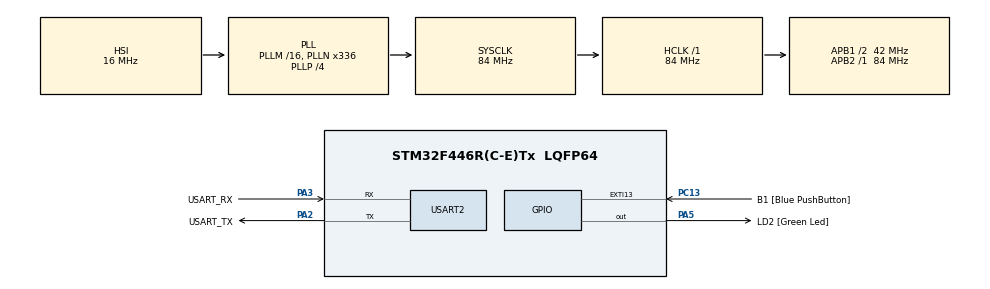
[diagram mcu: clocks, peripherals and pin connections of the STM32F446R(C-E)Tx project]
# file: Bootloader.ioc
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Mcu.Family=STM32F4
Mcu.Name=STM32F446R(C-E)Tx
Mcu.Package=LQFP64
NVIC.PriorityGroup=NVIC_PRIORITYGROUP_0
PA13.GPIO_Label=TMS
PA13.Mode=Serial_Wire
PA13.Signal=SYS_JTMS-SWDIO
PA14.GPIO_Label=TCK
PA14.Mode=Serial_Wire
PA14.Signal=SYS_JTCK-SWCLK
PA2.GPIO_Label=USART_TX
PA2.Mode=Asynchronous
PA2.Signal=USART2_TX
PA3.GPIO_Label=USART_RX
PA3.Mode=Asynchronous
PA3.Signal=USART2_RX
PA5.GPIO_Label=LD2 [Green Led]
PA5.Signal=GPIO_Output
PB3.GPIO_Label=SWO
PB3.Signal=SYS_JTDO-SWO
PC13.GPIO_Label=B1 [Blue PushButton]
PC13.GPIO_ModeDefaultEXTI=GPIO_MODE_IT_FALLING
PC13.Signal=GPXTI13
PC14-OSC32_IN.Mode=LSE-External-Oscillator
PC14-OSC32_IN.Signal=RCC_OSC32_IN
PC15-OSC32_OUT.Mode=LSE-External-Oscillator
PC15-OSC32_OUT.Signal=RCC_OSC32_OUT
PH0-OSC_IN.Mode=HSE-External-Oscillator
PH0-OSC_IN.Signal=RCC_OSC_IN
PH1-OSC_OUT.Mode=HSE-External-Oscillator
PH1-OSC_OUT.Signal=RCC_OSC_OUT
ProjectManager.HeapSize=0x200
ProjectManager.StackSize=0x400
ProjectManager.TargetToolchain=STM32CubeIDE
RCC.48MHZClocksFreq_Value=84000000
RCC.AHBFreq_Value=84000000
RCC.APB1CLKDivider=RCC_HCLK_DIV2
RCC.APB1Freq_Value=42000000
RCC.APB1TimFreq_Value=84000000
RCC.APB2Freq_Value=84000000
RCC.APB2TimFreq_Value=84000000
RCC.CortexFreq_Value=84000000
RCC.FLatency-AdvancedSettings=FLASH_LATENCY_2
RCC.HCLKFreq_Value=84000000
RCC.HSE_VALUE=8000000
RCC.HSI_VALUE=16000000
RCC.PLLN=336
RCC.PLLP=RCC_PLLP_DIV4
RCC.SYSCLKFreq_VALUE=84000000
RCC.SYSCLKSource=RCC_SYSCLKSOURCE_PLLCLK
RCC.USBFreq_Value=168000000
RCC.VCOOutputFreq_Value=336000000
USART2.VirtualMode=VM_ASYNC
VP_CRC_VS_CRC.Mode=CRC_Activate
board=NUCLEO-F446RE

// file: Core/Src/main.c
/* USER CODE BEGIN Header */
/**
  ******************************************************************************
  * @file           : main.c
  * @brief          : Main program body
  ******************************************************************************
  * @attention
  *
  * Copyright (c) 2023 STMicroelectronics.
  * All rights reserved.
  *
  * This software is licensed under terms that can be found in the LICENSE file
  * in the root directory of this software component.
  * If no LICENSE file comes with this software, it is provided AS-IS.
  *
  ******************************************************************************
  */
/* USER CODE END Header */
#include "main.h"

/* USER CODE BEGIN Includes */

#include <string.h>
#include "BL.h"

/* USER CODE END Includes */

/* USER CODE BEGIN PD */
#define FLASH_SECTOR2_BASE_ADDRESS			(0x08008000UL)

/* USER CODE END PD */

CRC_HandleTypeDef hcrc;

UART_HandleTypeDef huart2;

void SystemClock_Config(void);
static void MX_GPIO_Init(void);
static void MX_USART2_UART_Init(void);
static void MX_CRC_Init(void);
/* USER CODE BEGIN PFP */
void Bootloader_UartReadData(void);
void Bootloader_JumpToUserApp(void);

/* USER CODE END PFP */

int main(void)
{
  /* USER CODE BEGIN 1 */
	char HelloBootloader[] = "Hello, Bootloader\r\n";

  /* USER CODE END 1 */

  /* MCU Configuration--------------------------------------------------------*/

  /* Reset of all peripherals, Initializes the Flash interface and the Systick. */
  HAL_Init();

  /* Configure the system clock */
  SystemClock_Config();

  /* Initialize all configured peripherals */
  MX_GPIO_Init();
  MX_USART2_UART_Init();
  MX_CRC_Init();
  /* USER CODE BEGIN 2 */
  if (HAL_GPIO_ReadPin(B1_GPIO_Port, B1_Pin) == GPIO_PIN_RESET)
  {
	  Bootloader_UartReadData();
  }
  else
  {
	  Bootloader_JumpToUserApp();
  }

  /* USER CODE END 2 */

  /* Infinite loop */
  /* USER CODE BEGIN WHILE */
  while (1)
  {
	  HAL_UART_Transmit(&huart2, (uint8_t *)HelloBootloader, sizeof(HelloBootloader), HAL_MAX_DELAY);
	  HAL_Delay(1000);
    /* USER CODE END WHILE */

  }
}

void SystemClock_Config(void)
{
  RCC_OscInitTypeDef RCC_OscInitStruct = {0};
  RCC_ClkInitTypeDef RCC_ClkInitStruct = {0};

  /** Configure the main internal regulator output voltage
  */
  __HAL_RCC_PWR_CLK_ENABLE();
  __HAL_PWR_VOLTAGESCALING_CONFIG(PWR_REGULATOR_VOLTAGE_SCALE3);

  /** Initializes the RCC Oscillators according to the specified parameters
  * in the RCC_OscInitTypeDef structure.
  */
  RCC_OscInitStruct.OscillatorType = RCC_OSCILLATORTYPE_HSI;
  RCC_OscInitStruct.HSIState = RCC_HSI_ON;
  RCC_OscInitStruct.HSICalibrationValue = RCC_HSICALIBRATION_DEFAULT;
  RCC_OscInitStruct.PLL.PLLState = RCC_PLL_ON;
  RCC_OscInitStruct.PLL.PLLSource = RCC_PLLSOURCE_HSI;
  RCC_OscInitStruct.PLL.PLLM = 16;
  RCC_OscInitStruct.PLL.PLLN = 336;
  RCC_OscInitStruct.PLL.PLLP = RCC_PLLP_DIV4;
  RCC_OscInitStruct.PLL.PLLQ = 2;
  RCC_OscInitStruct.PLL.PLLR = 2;
  if (HAL_RCC_OscConfig(&RCC_OscInitStruct) != HAL_OK)
  {
    Error_Handler();
  }

  /** Initializes the CPU, AHB and APB buses clocks
  */
  RCC_ClkInitStruct.ClockType = RCC_CLOCKTYPE_HCLK|RCC_CLOCKTYPE_SYSCLK
                              |RCC_CLOCKTYPE_PCLK1|RCC_CLOCKTYPE_PCLK2;
  RCC_ClkInitStruct.SYSCLKSource = RCC_SYSCLKSOURCE_PLLCLK;
  RCC_ClkInitStruct.AHBCLKDivider = RCC_SYSCLK_DIV1;
  RCC_ClkInitStruct.APB1CLKDivider = RCC_HCLK_DIV2;
  RCC_ClkInitStruct.APB2CLKDivider = RCC_HCLK_DIV1;

  if (HAL_RCC_ClockConfig(&RCC_ClkInitStruct, FLASH_LATENCY_2) != HAL_OK)
  {
    Error_Handler();
  }
}

static void MX_CRC_Init(void)
{

  hcrc.Instance = CRC;
  if (HAL_CRC_Init(&hcrc) != HAL_OK)
  {
    Error_Handler();
  }

}

static void MX_USART2_UART_Init(void)
{

  huart2.Instance = USART2;
  huart2.Init.BaudRate = 115200;
  huart2.Init.WordLength = UART_WORDLENGTH_8B;
  huart2.Init.StopBits = UART_STOPBITS_1;
  huart2.Init.Parity = UART_PARITY_NONE;
  huart2.Init.Mode = UART_MODE_TX_RX;
  huart2.Init.HwFlowCtl = UART_HWCONTROL_NONE;
  huart2.Init.OverSampling = UART_OVERSAMPLING_16;
  if (HAL_UART_Init(&huart2) != HAL_OK)
  {
    Error_Handler();
  }

}

static void MX_GPIO_Init(void)
{
  GPIO_InitTypeDef GPIO_InitStruct = {0};

  /* GPIO Ports Clock Enable */
  __HAL_RCC_GPIOC_CLK_ENABLE();
  __HAL_RCC_GPIOH_CLK_ENABLE();
  __HAL_RCC_GPIOA_CLK_ENABLE();
  __HAL_RCC_GPIOB_CLK_ENABLE();

  /*Configure GPIO pin Output Level */
  HAL_GPIO_WritePin(LD2_GPIO_Port, LD2_Pin, GPIO_PIN_RESET);

  /*Configure GPIO pin : B1_Pin */
  GPIO_InitStruct.Pin = B1_Pin;
  GPIO_InitStruct.Mode = GPIO_MODE_IT_FALLING;
  GPIO_InitStruct.Pull = GPIO_NOPULL;
  HAL_GPIO_Init(B1_GPIO_Port, &GPIO_InitStruct);

  /*Configure GPIO pin : LD2_Pin */
  GPIO_InitStruct.Pin = LD2_Pin;
  GPIO_InitStruct.Mode = GPIO_MODE_OUTPUT_PP;
  GPIO_InitStruct.Pull = GPIO_NOPULL;
  GPIO_InitStruct.Speed = GPIO_SPEED_FREQ_LOW;
  HAL_GPIO_Init(LD2_GPIO_Port, &GPIO_InitStruct);

}

/* USER CODE BEGIN 4 */

/* This Function is used to read commands from the host */
void Bootloader_UartReadData(void)
{
	uint8_t Local_CmdPacket[255U];

	while(1)
	{
		/* Clear the command packet every iteration */
		memset(Local_CmdPacket, 0U, 255U);

		/* 1st step: read the first byte which includes the "Length to follow" field of the command */
		HAL_UART_Receive(&huart2, Local_CmdPacket, 1U, HAL_MAX_DELAY);

		/* 2nd step: read the rest of the commands, its size is the previously byte value */
		HAL_UART_Receive(&huart2, &Local_CmdPacket[1], Local_CmdPacket[0], HAL_MAX_DELAY);

		/* 3rd step: check the command code, then handle the command */
		switch(Local_CmdPacket[1])	// Local_CmdPacket[1] is the command code
		{
		case BL_GET_VER: BL_voidHandleGetVerCmd(Local_CmdPacket); break;
		case BL_GET_HELP:BL_voidHandleGetHelpCmd(Local_CmdPacket); break;
		case BL_GET_CID: BL_voidHandleGetCIDCmd(Local_CmdPacket); break;
		case BL_GET_RDP_STATUS: BL_voidHandleGetRDPStatusCmd(Local_CmdPacket);break;
		case BL_GO_TO_ADDR: BL_voidHandleGoToAddressCmd(Local_CmdPacket); break;
		case BL_FLASH_ERASE: BL_voidHandleFlashEraseCmd(Local_CmdPacket) ;break;
		case BL_MEM_WRITE: BL_voidHandleMemWriteCmd(Local_CmdPacket); break;
		case BL_EN_RW_PROTECT: BL_voidHandleEnRWProtectCmd(Local_CmdPacket); break;
		case BL_MEM_READ: BL_voidHandleMemReadCmd(Local_CmdPacket); break;
		case BL_READ_SECTOR_STATUS: BL_voidHandleReadSectorStatusCmd(Local_CmdPacket); break;
		case BL_OPT_READ: BL_voidHandleOTPReadCmd(Local_CmdPacket); break;
		case BL_DIS_WR_PROTECT: BL_voidHandleDisRWProtectCmd(Local_CmdPacket); break;
		default: /* Invalid command fron host */break;
		}
	}
}

void Bootloader_JumpToUserApp(void)
{
	uint32_t Local_u32MSPVal;
	uint32_t ResetHandlerAddress;

	/* Pointer to function to hold the address og the reset handler of the user app */
	void (*App_ResetHandler)(void);

	/* Configure MSP of user app byy reading value from base address of sector2 */
	Local_u32MSPVal= *((volatile uint32_t *)(FLASH_SECTOR2_BASE_ADDRESS));

	/* Write the MSP value into MSP register */
	__asm volatile("MSR MSP, %0" ::"r"(Local_u32MSPVal));

	/* Get reset handler address of user app */
	ResetHandlerAddress = *((volatile uint32_t *)(FLASH_SECTOR2_BASE_ADDRESS + 0x4UL));

	App_ResetHandler = (void *)ResetHandlerAddress;

	/* Jump to the user app reset handler */
	App_ResetHandler();
}

/* USER CODE END 4 */

void Error_Handler(void)
{
  __disable_irq();
  while (1)
  {
  }
}
